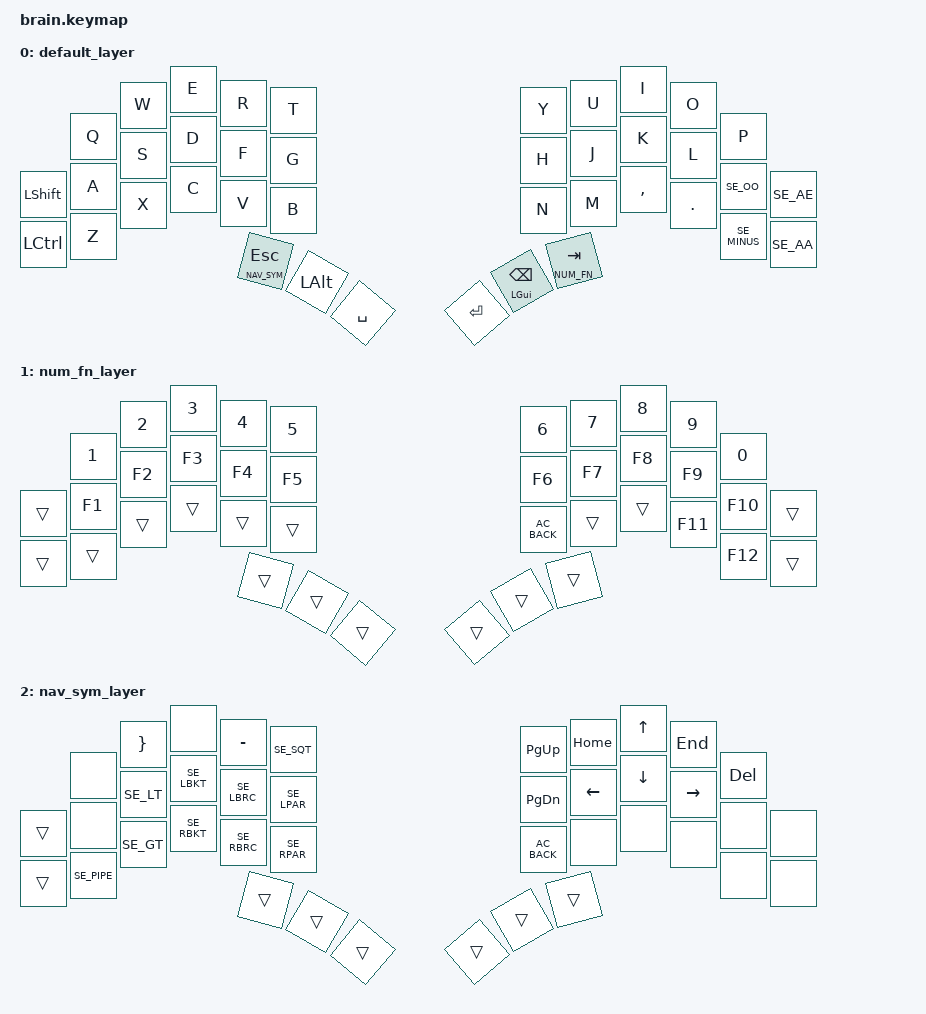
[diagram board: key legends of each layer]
/*
 * Copyright (c) 2020 The ZMK Contributors
 *
 * SPDX-License-Identifier: MIT
 */

#include <behaviors.dtsi>
#include <dt-bindings/zmk/keys.h>
#include "swe_keys.h"

#define DEFAULT 0
#define NUM_FN  1
#define NAV_SYM 2

/ {
    behaviors {
        hm: hold_tap {
            compatible = "zmk,behavior-hold-tap";
            #binding-cells = <2>;
            tapping-term-ms = <200>;
            quick-tap-ms = <0>;
            flavor = "tap-preferred";
            bindings = <&kp>, <&kp>;
        };
    };

    /*           40 Keys
    ╭─────────────────╮ ╭─────────────────╮
    │    0  1  2  3  4│ │ 5  6  7  8  9   │
    │10 11 12 13 14 15│ │16 17 18 19 20 21│
    │22 23 24 25 26 27│ │28 29 30 31 32 33│
    ╰────────╮34 35 36│ │37 38 39╭────────╯
             ╰────────╯ ╰────────╯       */

    keymap {
        compatible = "zmk,keymap";

        default_layer {
// ╭─────────────────────╮ ╭──────────────────────╮
// │  Q  W  E  R  T      │ │  Y  U  I  O  P       │
// │⇧ A  S  D  F  G      │ │  H  J  K  L  Ö     Å │
// │⌃ Z  X  C  V  B      │ │  N  M  ,  .  -     Ä │
// ╰────╮ESC/L2 ALT SPC  │ │ RET BSP/⌘ TAB/L1╭───╯
//      ╰─────────────────╯ ╰─────────────────╯
            bindings = <
            &kp Q  &kp W  &kp E  &kp R  &kp T       &kp Y  &kp U  &kp I      &kp O    &kp P
&kp LSHFT   &kp A  &kp S  &kp D  &kp F  &kp G       &kp H  &kp J  &kp K      &kp L    &kp SE_OO     &kp SE_AE
&kp LCTRL   &kp Z  &kp X  &kp C  &kp V  &kp B       &kp N  &kp M  &kp COMMA  &kp DOT  &kp SE_MINUS  &kp SE_AA
              &lt NAV_SYM ESC  &kp LALT  &kp SPACE   &kp RET  &hm LGUI BSPC  &lt NUM_FN TAB
            >;
        };

        num_fn_layer {
// ╭─────────────────────╮ ╭──────────────────────╮
// │  1  2  3  4  5      │ │  6  7  8  9  0       │
// │  F1 F2 F3 F4 F5     │ │  F6 F7 F8 F9 F10     │
// │                     │ │  ⇦        F11 F12     │
// ╰────╮                │ │              ╭────────╯
//      ╰─────────────────╯ ╰─────────────╯
            bindings = <
            &kp N1  &kp N2  &kp N3  &kp N4  &kp N5      &kp N6         &kp N7  &kp N8  &kp N9   &kp N0
&trans      &kp F1  &kp F2  &kp F3  &kp F4  &kp F5      &kp F6         &kp F7  &kp F8  &kp F9   &kp F10  &trans
&trans      &trans  &trans  &trans  &trans  &trans       &kp C_AC_BACK  &trans  &trans  &kp F11  &kp F12  &trans
                    &trans  &trans  &trans               &trans         &trans  &trans
            >;
        };

        nav_sym_layer {
// ╭─────────────────────╮ ╭──────────────────────╮
// │              '      │ │ PgUp Home ↑  End Del  │
// │     <  [  {  (      │ │ PgDn ←    ↓  →        │
// │  |  >  ]  }  )     │ │  ⇦                     │
// ╰────╮                │ │              ╭────────╯
//      ╰─────────────────╯ ╰─────────────╯
            bindings = <
            &none       &kp RBRC   &none       &kp MINUS   &kp SE_SQT      &kp PG_UP      &kp HOME  &kp UP    &kp END    &kp DEL
&trans      &none       &kp SE_LT  &kp SE_LBKT &kp SE_LBRC &kp SE_LPAR    &kp PG_DN      &kp LEFT  &kp DOWN  &kp RIGHT  &none  &none
&trans      &kp SE_PIPE &kp SE_GT  &kp SE_RBKT &kp SE_RBRC &kp SE_RPAR    &kp C_AC_BACK  &none     &none     &none      &none  &none
                        &trans     &trans      &trans                      &trans         &trans    &trans
            >;
        };
    };
};
